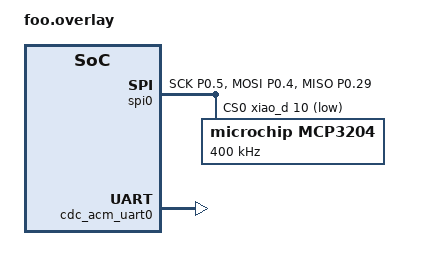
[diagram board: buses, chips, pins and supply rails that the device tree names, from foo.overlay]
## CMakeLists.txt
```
# SPDX-License-Identifier: Apache-2.0

cmake_minimum_required(VERSION 3.20.0)

find_package(Zephyr REQUIRED HINTS $ENV{ZEPHYR_BASE})
project(mcp3204)

target_sources(app PRIVATE src/main.c)
```

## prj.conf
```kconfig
# mcp3204
CONFIG_ADC=y
CONFIG_ADC_MCP320X=y
CONFIG_ADC_INIT_PRIORITY=80


# usb serial
CONFIG_USB_DEVICE_STACK=y
CONFIG_USB_CDC_ACM=y
CONFIG_CONSOLE=y
CONFIG_STDOUT_CONSOLE=y
CONFIG_PRINTK=y
CONFIG_SERIAL=y

# CONFIG_USB_UART_CONSOLE=y    # this config does *not* exist in zephyr 3.5
```

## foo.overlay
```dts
// -----------------
// adc - mcp3204
// -----------------
&pinctrl {
    spi0_default: spi0_default {
        group1 {
            psels = <NRF_PSEL(SPIM_SCK,  0,  5)>,	// SCK:  P0.05 (D5)
                    <NRF_PSEL(SPIM_MOSI, 0,  4)>,	// MOSI: P0.04 (D4)
                    <NRF_PSEL(SPIM_MISO, 0, 29)>;	// MISO: P0.29 (D3)
        };
    };

    spi0_sleep: spi0_sleep {
        group1 {
            psels = <NRF_PSEL(SPIM_SCK,  0,  5)>,	// SCK:  P0.05 (D5)
                    <NRF_PSEL(SPIM_MOSI, 0,  4)>,	// MOSI: P0.04 (D4)
                    <NRF_PSEL(SPIM_MISO, 0, 29)>;	// MISO: P0.29 (D3)
            low-power-enable;
        };
    };
};

&spi0 {
    compatible = "nordic,nrf-spim";
    status = "okay";
    pinctrl-0 = <&spi0_default>;
    pinctrl-1 = <&spi0_sleep>;
    pinctrl-names = "default", "sleep";
    cs-gpios = <&xiao_d 10 GPIO_ACTIVE_LOW>;         // /CS: P1.15 (D10)

    mcp3204: mcp3204@0 {
        compatible = "microchip,mcp3204";
        reg = <0x0>;
        spi-max-frequency = <400000>;  // ok
     // spi-max-frequency = <100000>;  // NG
        #io-channel-cells = <1>;
     // duplex = <0>;       // 0: full duplex (default), 2048: half duplex
                            // `2048` doesn't seem to work as expected
    };

};


// -----------------
// usb serial
// -----------------
/ {
    chosen {
        zephyr,console = &cdc_acm_uart0;
    };
};

&usbd {
    cdc_acm_uart0: cdc_acm_uart0 {
        compatible = "zephyr,cdc-acm-uart";
    };
};
```

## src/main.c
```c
#include <zephyr/kernel.h>
#include <zephyr/sys/printk.h>
#include <zephyr/drivers/adc.h>
#include <zephyr/usb/usb_device.h>

#define MCP3204_CHANNELS 4

static const struct device *adc_dev;
static int16_t sample_buf;

int main(void)
{
    int err;

    (void)usb_enable(NULL);	// Enable USB serial

    k_sleep(K_MSEC(1000));

    adc_dev = DEVICE_DT_GET_ANY(microchip_mcp3204);
    if (!device_is_ready(adc_dev)) {
        printk("Error: MCP3204 device not ready\n");
        return -1;
    }

    printk("Starting ADC reads from MCP3204\n");

    while (1) {
        for (int ch = 0; ch < MCP3204_CHANNELS; ++ch) {
            struct adc_sequence sequence = {
                .channels     = BIT(ch),
                //.resolution   = 12,
                .resolution   = 12,
                .buffer       = &sample_buf,
                .buffer_size  = sizeof(sample_buf),
            };

            err = adc_read(adc_dev, &sequence);
            if (err < 0) {
                printk("CH%d: %d Error!\n", ch, err);
            } else {
                printk("CH%d: %d\n", ch, sample_buf);
            }
        }

        k_sleep(K_MSEC(500));
    }

    return 0;
}
```
